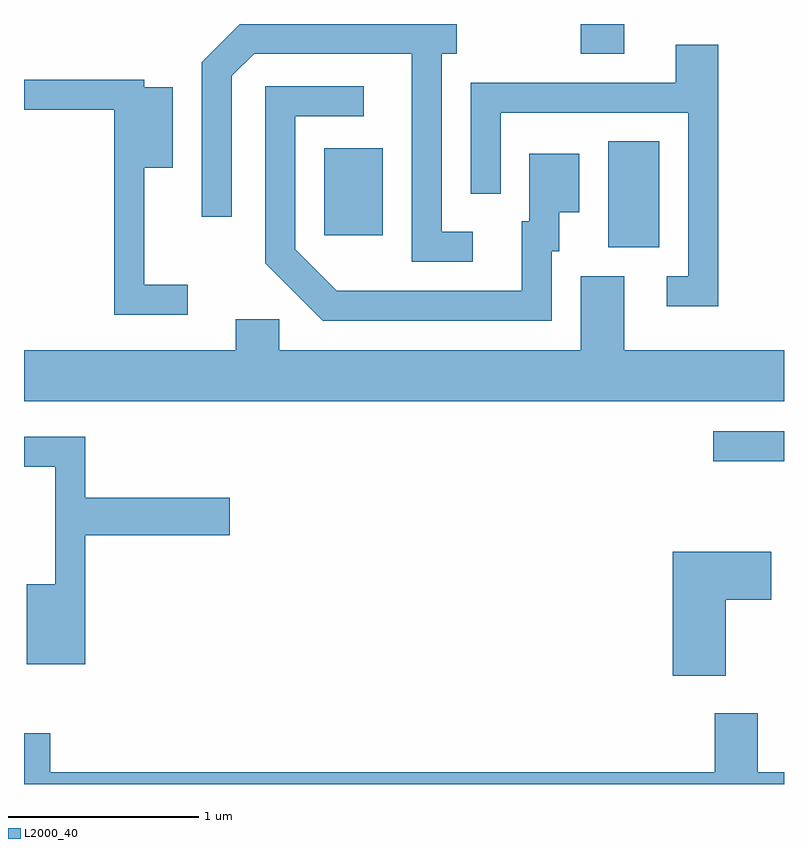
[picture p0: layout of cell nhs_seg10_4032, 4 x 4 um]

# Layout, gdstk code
import gdstk
lib = gdstk.Library(unit=1e-6, precision=1e-09)
def R(c, l, rs):  # rectangles x0, y0, x1, y1
    for r in rs: c.add(gdstk.rectangle(r[:2], r[2:], *l))
def P(c, l, *ps):  # polygons
    for p in ps: c.add(gdstk.Polygon(p, *l))
L2000_40 = (2000, 40)

nhs_seg10_4032 = lib.new_cell('nhs_seg10_4032')
R(nhs_seg10_4032, L2000_40, [(307.238,2160.221,307.611,2160.379), (306.686,2161.346,306.954,2161.904), (305.191,2161.411,305.499,2161.869), (306.541,2162.366,306.769,2162.522)])
P(nhs_seg10_4032, L2000_40, [(305.973,2161.429),(305.809,2161.429),(305.809,2162.366),(305.888,2162.366),(305.888,2162.522),(304.747,2162.522),(304.546,2162.322),(304.546,2161.508),(304.704,2161.508),(304.704,2162.249),(304.822,2162.366),(305.651,2162.366),(305.651,2161.271),(305.973,2161.271)],
  [(307.264,2162.414),(307.041,2162.414),(307.041,2162.214),(305.961,2162.214),(305.961,2161.628),(306.119,2161.628),(306.119,2162.056),(307.106,2162.056),(307.106,2161.194),(306.993,2161.194),(306.993,2161.036),(307.264,2161.036)],
  [(304.473,2161.149),(304.244,2161.149),(304.244,2161.766),(304.394,2161.766),(304.394,2162.189),(304.244,2162.189),(304.244,2162.229),(303.611,2162.229),(303.611,2162.071),(304.086,2162.071),(304.086,2160.991),(304.473,2160.991)],
  [(306.389,2161.326),(306.429,2161.326),(306.429,2161.531),(306.534,2161.531),(306.534,2161.839),(306.271,2161.839),(306.271,2161.484),(306.231,2161.484),(306.231,2161.119),(305.257,2161.119),(305.039,2161.337),(305.039,2162.036),(305.398,2162.036),(305.398,2162.194),(304.881,2162.194),(304.881,2161.264),(305.184,2160.961),(306.389,2160.961)],
  [(307.611,2160.804),(306.769,2160.804),(306.769,2161.194),(306.541,2161.194),(306.541,2160.804),(304.954,2160.804),(304.954,2160.969),(304.726,2160.969),(304.726,2160.804),(303.611,2160.804),(303.611,2160.536),(307.611,2160.536)],
  [(303.934,2159.831),(304.694,2159.831),(304.694,2160.029),(303.934,2160.029),(303.934,2160.349),(303.611,2160.349),(303.611,2160.191),(303.776,2160.191),(303.776,2159.574),(303.626,2159.574),(303.626,2159.151),(303.934,2159.151)],
  [(307.304,2159.491),(307.544,2159.491),(307.544,2159.744),(307.026,2159.744),(307.026,2159.091),(307.304,2159.091)],
  [(307.611,2158.584),(307.474,2158.584),(307.474,2158.894),(307.246,2158.894),(307.246,2158.584),(303.749,2158.584),(303.749,2158.789),(303.611,2158.789),(303.611,2158.522),(307.611,2158.522)])

lib.write_gds('nhs_seg10_4032.gds')
